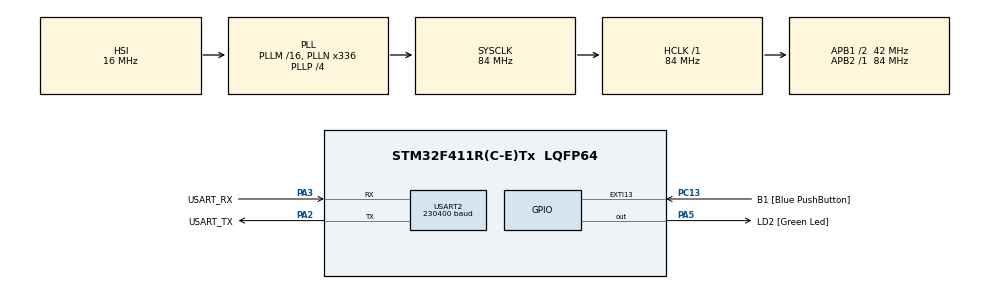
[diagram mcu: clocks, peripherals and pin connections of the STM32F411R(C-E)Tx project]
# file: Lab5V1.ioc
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Dma.Request0=USART2_RX
Dma.USART2_RX.0.Direction=DMA_PERIPH_TO_MEMORY
Dma.USART2_RX.0.FIFOMode=DMA_FIFOMODE_DISABLE
Dma.USART2_RX.0.Instance=DMA1_Stream5
Dma.USART2_RX.0.MemDataAlignment=DMA_MDATAALIGN_BYTE
Dma.USART2_RX.0.MemInc=DMA_MINC_ENABLE
Dma.USART2_RX.0.Mode=DMA_CIRCULAR
Dma.USART2_RX.0.PeriphDataAlignment=DMA_PDATAALIGN_BYTE
Dma.USART2_RX.0.PeriphInc=DMA_PINC_DISABLE
Dma.USART2_RX.0.Priority=DMA_PRIORITY_LOW
Mcu.Family=STM32F4
Mcu.Name=STM32F411R(C-E)Tx
Mcu.Package=LQFP64
NVIC.DMA1_Stream5_IRQn=true\:0\:0\:false\:false\:true\:false\:true\:true
NVIC.PriorityGroup=NVIC_PRIORITYGROUP_0
PA13.GPIO_Label=TMS
PA13.Mode=Serial_Wire
PA13.Signal=SYS_JTMS-SWDIO
PA14.GPIO_Label=TCK
PA14.Mode=Serial_Wire
PA14.Signal=SYS_JTCK-SWCLK
PA2.GPIO_Label=USART_TX
PA2.Mode=Asynchronous
PA2.Signal=USART2_TX
PA3.GPIO_Label=USART_RX
PA3.Mode=Asynchronous
PA3.Signal=USART2_RX
PA5.GPIO_Label=LD2 [Green Led]
PA5.Signal=GPIO_Output
PB3.GPIO_Label=SWO
PB3.Signal=SYS_JTDO-SWO
PC13-ANTI_TAMP.GPIO_Label=B1 [Blue PushButton]
PC13-ANTI_TAMP.GPIO_ModeDefaultEXTI=GPIO_MODE_IT_FALLING
PC13-ANTI_TAMP.Signal=GPXTI13
PC14-OSC32_IN.Mode=LSE-External-Oscillator
PC14-OSC32_IN.Signal=RCC_OSC32_IN
PC15-OSC32_OUT.Mode=LSE-External-Oscillator
PC15-OSC32_OUT.Signal=RCC_OSC32_OUT
PH0\ -\ OSC_IN.Mode=HSE-External-Clock-Source
PH0\ -\ OSC_IN.Signal=RCC_OSC_IN
PH1\ -\ OSC_OUT.Mode=HSE-External-Clock-Source
PH1\ -\ OSC_OUT.Signal=RCC_OSC_OUT
ProjectManager.HeapSize=0x200
ProjectManager.StackSize=0x400
ProjectManager.TargetToolchain=STM32CubeIDE
RCC.48MHZClocksFreq_Value=84000000
RCC.AHBFreq_Value=84000000
RCC.APB1CLKDivider=RCC_HCLK_DIV2
RCC.APB1Freq_Value=42000000
RCC.APB1TimFreq_Value=84000000
RCC.APB2Freq_Value=84000000
RCC.APB2TimFreq_Value=84000000
RCC.CortexFreq_Value=84000000
RCC.FLatency-AdvancedSettings=FLASH_LATENCY_2
RCC.HCLKFreq_Value=84000000
RCC.HSE_VALUE=8000000
RCC.HSI_VALUE=16000000
RCC.PLLN=336
RCC.PLLP=RCC_PLLP_DIV4
RCC.SYSCLKFreq_VALUE=84000000
RCC.SYSCLKSource=RCC_SYSCLKSOURCE_PLLCLK
RCC.VCOOutputFreq_Value=336000000
USART2.BaudRate=230400
USART2.VirtualMode=VM_ASYNC
board=NUCLEO-F411RE

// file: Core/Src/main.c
/* USER CODE BEGIN Header */
/**
  ******************************************************************************
  * @file           : main.c
  * @brief          : Main program body
  ******************************************************************************
  * @attention
  *
  * Copyright (c) 2023 STMicroelectronics.
  * All rights reserved.
  *
  * This software is licensed under terms that can be found in the LICENSE file
  * in the root directory of this software component.
  * If no LICENSE file comes with this software, it is provided AS-IS.
  *
  ******************************************************************************
  */
/* USER CODE END Header */
#include "main.h"

/* USER CODE BEGIN Includes */
//include these library to use string etc.
#include "stdio.h"
#include "string.h"
/* USER CODE END Includes */

UART_HandleTypeDef huart2;
DMA_HandleTypeDef hdma_usart2_rx;

/* USER CODE BEGIN PV */
uint8_t Rxbuffer[5]; // receive array
uint8_t Txbuffer[400]; // transmit array
uint8_t text[400];

int led_rate = 10; //led blinking speed
uint8_t led_status = 0; //off led at first
uint8_t blink = 0;//blink in hz

uint8_t B1;
uint8_t B1b; // edge check

uint8_t state = 2; //begin UI

uint8_t welcome = 0;
uint8_t led = 0;
uint8_t button = 0;

uint8_t tm = 100;

/* USER CODE END PV */

void SystemClock_Config(void);
static void MX_GPIO_Init(void);
static void MX_DMA_Init(void);
static void MX_USART2_UART_Init(void);
/* USER CODE BEGIN PFP */
void UI();
/* USER CODE END PFP */

int main(void)
{

  /* MCU Configuration--------------------------------------------------------*/

  /* Reset of all peripherals, Initializes the Flash interface and the Systick. */
  HAL_Init();

  /* Configure the system clock */
  SystemClock_Config();

  /* Initialize all configured peripherals */
  MX_GPIO_Init();
  MX_DMA_Init();
  MX_USART2_UART_Init();
  /* USER CODE BEGIN 2 */

  HAL_UART_Receive_DMA(&huart2, Rxbuffer, 1); //set DMA receive

  /* USER CODE END 2 */

  /* Infinite loop */
  while (1)
  {

    /* USER CODE BEGIN 3 */

	  if(led_status == 1){
	  static uint32_t timestamp=0;
	  if(timestamp<HAL_GetTick()){
		  timestamp = HAL_GetTick() + (blink);
		  HAL_GPIO_TogglePin(GPIOA, GPIO_PIN_5);
		  //HAL_GPIO_WritePin(GPIOA, GPIO_PIN_5, led_status);
	  }}
	  UI();

  }
  /* USER CODE END 3 */
}

void SystemClock_Config(void)
{
  RCC_OscInitTypeDef RCC_OscInitStruct = {0};
  RCC_ClkInitTypeDef RCC_ClkInitStruct = {0};

  /** Configure the main internal regulator output voltage
  */
  __HAL_RCC_PWR_CLK_ENABLE();
  __HAL_PWR_VOLTAGESCALING_CONFIG(PWR_REGULATOR_VOLTAGE_SCALE1);

  /** Initializes the RCC Oscillators according to the specified parameters
  * in the RCC_OscInitTypeDef structure.
  */
  RCC_OscInitStruct.OscillatorType = RCC_OSCILLATORTYPE_HSI;
  RCC_OscInitStruct.HSIState = RCC_HSI_ON;
  RCC_OscInitStruct.HSICalibrationValue = RCC_HSICALIBRATION_DEFAULT;
  RCC_OscInitStruct.PLL.PLLState = RCC_PLL_ON;
  RCC_OscInitStruct.PLL.PLLSource = RCC_PLLSOURCE_HSI;
  RCC_OscInitStruct.PLL.PLLM = 16;
  RCC_OscInitStruct.PLL.PLLN = 336;
  RCC_OscInitStruct.PLL.PLLP = RCC_PLLP_DIV4;
  RCC_OscInitStruct.PLL.PLLQ = 4;
  if (HAL_RCC_OscConfig(&RCC_OscInitStruct) != HAL_OK)
  {
    Error_Handler();
  }

  /** Initializes the CPU, AHB and APB buses clocks
  */
  RCC_ClkInitStruct.ClockType = RCC_CLOCKTYPE_HCLK|RCC_CLOCKTYPE_SYSCLK
                              |RCC_CLOCKTYPE_PCLK1|RCC_CLOCKTYPE_PCLK2;
  RCC_ClkInitStruct.SYSCLKSource = RCC_SYSCLKSOURCE_PLLCLK;
  RCC_ClkInitStruct.AHBCLKDivider = RCC_SYSCLK_DIV1;
  RCC_ClkInitStruct.APB1CLKDivider = RCC_HCLK_DIV2;
  RCC_ClkInitStruct.APB2CLKDivider = RCC_HCLK_DIV1;

  if (HAL_RCC_ClockConfig(&RCC_ClkInitStruct, FLASH_LATENCY_2) != HAL_OK)
  {
    Error_Handler();
  }
}

static void MX_USART2_UART_Init(void)
{

  huart2.Instance = USART2;
  huart2.Init.BaudRate = 230400;
  huart2.Init.WordLength = UART_WORDLENGTH_8B;
  huart2.Init.StopBits = UART_STOPBITS_1;
  huart2.Init.Parity = UART_PARITY_NONE;
  huart2.Init.Mode = UART_MODE_TX_RX;
  huart2.Init.HwFlowCtl = UART_HWCONTROL_NONE;
  huart2.Init.OverSampling = UART_OVERSAMPLING_16;
  if (HAL_UART_Init(&huart2) != HAL_OK)
  {
    Error_Handler();
  }

}

static void MX_DMA_Init(void)
{

  /* DMA controller clock enable */
  __HAL_RCC_DMA1_CLK_ENABLE();

  /* DMA interrupt init */
  /* DMA1_Stream5_IRQn interrupt configuration */
  HAL_NVIC_SetPriority(DMA1_Stream5_IRQn, 0, 0);
  HAL_NVIC_EnableIRQ(DMA1_Stream5_IRQn);

}

static void MX_GPIO_Init(void)
{
  GPIO_InitTypeDef GPIO_InitStruct = {0};

  /* GPIO Ports Clock Enable */
  __HAL_RCC_GPIOC_CLK_ENABLE();
  __HAL_RCC_GPIOH_CLK_ENABLE();
  __HAL_RCC_GPIOA_CLK_ENABLE();
  __HAL_RCC_GPIOB_CLK_ENABLE();

  /*Configure GPIO pin Output Level */
  HAL_GPIO_WritePin(LD2_GPIO_Port, LD2_Pin, GPIO_PIN_RESET);

  /*Configure GPIO pin : B1_Pin */
  GPIO_InitStruct.Pin = B1_Pin;
  GPIO_InitStruct.Mode = GPIO_MODE_IT_FALLING;
  GPIO_InitStruct.Pull = GPIO_NOPULL;
  HAL_GPIO_Init(B1_GPIO_Port, &GPIO_InitStruct);

  /*Configure GPIO pin : LD2_Pin */
  GPIO_InitStruct.Pin = LD2_Pin;
  GPIO_InitStruct.Mode = GPIO_MODE_OUTPUT_PP;
  GPIO_InitStruct.Pull = GPIO_NOPULL;
  GPIO_InitStruct.Speed = GPIO_SPEED_FREQ_LOW;
  HAL_GPIO_Init(LD2_GPIO_Port, &GPIO_InitStruct);

}

/* USER CODE BEGIN 4 */
void UI()
{
	switch(state){
		case 0:
			//-----------------------LED Control--------------------------//
			if(led == 0){

				sprintf((char*)Txbuffer,"----------------------------------------------------------------------------\r\n----------------------------------------------------------------------------\r\n----------------------------------------------------------------------------\r\n");
				HAL_UART_Transmit(&huart2, Txbuffer, strlen((char*)Txbuffer), tm);

				sprintf((char*)Txbuffer,"                   This is LED CONTROL mode!!!\r\n");
				HAL_UART_Transmit(&huart2, Txbuffer, strlen((char*)Txbuffer), tm);

				sprintf((char*)Txbuffer,"please press the options below\r\n");
				HAL_UART_Transmit(&huart2, Txbuffer, strlen((char*)Txbuffer), tm);

				sprintf((char*)Txbuffer,"A: To increase LED2 Blinking speed\r\nS: To decrease LED2 Blinking speed \r\nD: Turn ON or OFF LED2\r\nX: Go Back to Home page\r\n");
				HAL_UART_Transmit(&huart2, Txbuffer, strlen((char*)Txbuffer), tm);

				sprintf((char*)Txbuffer,"----------------------------------------------------------------------------\r\n");
				HAL_UART_Transmit(&huart2, Txbuffer, strlen((char*)Txbuffer), tm);

				//-----------update popup page status-------------------//
				welcome = 0;
				led = 1;
				button = 0;
				state=0;
			}
			else if(Rxbuffer[0]==97){//+ led speed
				led_rate = led_rate+1;
				blink = 500/led_rate;
				sprintf((char*)Txbuffer,"LED2's current Blinking speed : %d\r\n",led_rate);
				HAL_UART_Transmit(&huart2, Txbuffer, strlen((char*)Txbuffer), tm);
				Rxbuffer[0]=0;

				state=0;

			}
			else if(Rxbuffer[0]==115){//-led speed
				led_rate = led_rate-1;
				blink = 500/led_rate;
				if(led_rate<=0)led_rate=1;
				sprintf((char*)Txbuffer,"LED2's current Blinking speed : %d\r\n",led_rate);
				HAL_UART_Transmit(&huart2, Txbuffer, strlen((char*)Txbuffer), tm);

				Rxbuffer[0]=0;
				state=0;
			}
			else if(Rxbuffer[0]==100){
				if(led_status == 0){//off to on led
					led_status = 1;
					HAL_GPIO_WritePin(GPIOA, GPIO_PIN_5, led_status); //fix
					sprintf((char*)Txbuffer,"LED2's current Status : ON\r\n");
					HAL_UART_Transmit(&huart2, Txbuffer, strlen((char*)Txbuffer), tm);

					Rxbuffer[0]=0;
					state=0;
				}
				else if(led_status == 1){//on to off led
					led_status = 0;
					HAL_GPIO_WritePin(GPIOA, GPIO_PIN_5, led_status); //fix
					sprintf((char*)Txbuffer,"LED2's current Status : OFF\r\n");
					HAL_UART_Transmit(&huart2, Txbuffer, strlen((char*)Txbuffer), tm);

					Rxbuffer[0]=0;
					state=0;
				}

			}
			else if(Rxbuffer[0]!=120&&Rxbuffer[0]!=100&&Rxbuffer[0]!=115&&Rxbuffer[0]!=97&&Rxbuffer[0]!=0){//error press
				state =3;

				Rxbuffer[0]=0;
			}
			else if(Rxbuffer[0]==120){//back to home
				sprintf((char*)text,"                   END LED CONTROL mode\r\n");
				sprintf((char*)text,"----------------------------------------------------------------------------\r\n                                                                           \r\n                                                                           \r\n");

				Rxbuffer[0]=0;
				state = 2;
			}
			else{state=0;}
			break; //break case 0
		case 1://button status
			if(button == 0){
				//------------------------------------home popup------------------------------------\//

				sprintf((char*)Txbuffer,"----------------------------------------------------------------------------\r\n----------------------------------------------------------------------------\r\n----------------------------------------------------------------------------\r\n");
				HAL_UART_Transmit(&huart2, Txbuffer, strlen((char*)Txbuffer), tm);

				sprintf((char*)Txbuffer,"                This is BUTTON STATUS mode!!! \r\n");
				HAL_UART_Transmit(&huart2, Txbuffer, strlen((char*)Txbuffer), tm);

				sprintf((char*)Txbuffer,"please press the options below\r\n");
				HAL_UART_Transmit(&huart2, Txbuffer, strlen((char*)Txbuffer), tm);

				sprintf((char*)Txbuffer,"B1: To Check Button1's status\r\nX: Go Back to Home page\r\n");
				HAL_UART_Transmit(&huart2, Txbuffer, strlen((char*)Txbuffer), tm);

				sprintf((char*)Txbuffer,"----------------------------------------------------------------------------\r\n----------------------------------------------------------------------------\r\n----------------------------------------------------------------------------\r\n");
				HAL_UART_Transmit(&huart2, Txbuffer, strlen((char*)Txbuffer), tm);

				//-----------update popup page status-------------------//
				welcome = 0;
				led = 0;
				button = 1;
				}
			else if(HAL_GPIO_ReadPin(GPIOC, GPIO_PIN_13) == 1 && B1b == 0){//Un-press
				sprintf((char*)Txbuffer,"Un-press\r\n");
				HAL_UART_Transmit(&huart2, Txbuffer, strlen((char*)Txbuffer), tm);
				Rxbuffer[0]=0;
				state=1;
			}
			else if(HAL_GPIO_ReadPin(GPIOC, GPIO_PIN_13) == 0 && B1b == 1){//press
				sprintf((char*)Txbuffer,"Press\r\n");
				HAL_UART_Transmit(&huart2, Txbuffer, strlen((char*)Txbuffer), tm);
				Rxbuffer[0]=0;
				state=1;
			}
			else if(Rxbuffer[0]!=120&&Rxbuffer[0]!=0){//error press
				state =3;
				Rxbuffer[0]=0;
			}
			else if(Rxbuffer[0]==120){//back to home
				sprintf((char*)text,"                   END LED CONTROL mode\r\n");
				sprintf((char*)text,"----------------------------------------------------------------------------\r\n                                                                           \r\n                                                                           \r\n");
				Rxbuffer[0]=0;
				state = 2;
			}
			else{state=1;}
			B1b = HAL_GPIO_ReadPin(GPIOC, GPIO_PIN_13);
			break;
		case 2://home
			if(welcome == 0){
				//------------------------------------home popup------------------------------------\//

				sprintf((char*)Txbuffer,"----------------------------------------------------------------------------\r\n----------------------------------------------------------------------------\r\n----------------------------------------------------------------------------\r\n");
				HAL_UART_Transmit(&huart2, Txbuffer, strlen((char*)Txbuffer), tm);

						sprintf((char*)Txbuffer,"                Hello This is Anchisa's LAB5 UART \r\n");
						HAL_UART_Transmit(&huart2, Txbuffer, strlen((char*)Txbuffer), tm);

						sprintf((char*)Txbuffer,"please press the options below\r\n");
						HAL_UART_Transmit(&huart2, Txbuffer, strlen((char*)Txbuffer), tm);

						sprintf((char*)Txbuffer,"0: To LED CONTROL mode\r\n1: To BUTTON STATUS mode\r\n");
						HAL_UART_Transmit(&huart2, Txbuffer, strlen((char*)Txbuffer), tm);

						sprintf((char*)Txbuffer,"----------------------------------------------------------------------------\r\n----------------------------------------------------------------------------\r\n----------------------------------------------------------------------------\r\n");
						HAL_UART_Transmit(&huart2, Txbuffer, strlen((char*)Txbuffer), tm);

						//-----------update popup page status-------------------//
						welcome = 1;
						led = 0;
						button = 0;
			}
			else if(Rxbuffer[0]==48){
				Rxbuffer[0]=0;
				state=0;
			}
			else if(Rxbuffer[0]==49){
				Rxbuffer[0]=0;
				state=1;
			}
			else if(Rxbuffer[0]!=48&&Rxbuffer[0]!=49&&Rxbuffer[0]!=0){
				state =3;
				Rxbuffer[0]=0;
			}
			else{state=2;}

			break;
		case 3://error
			sprintf((char*)Txbuffer,"     Sorry we don't have this option,will take you back to HOMEPAGE \r\n");
			HAL_UART_Transmit(&huart2, Txbuffer, strlen((char*)Txbuffer), tm);
			welcome = 0;
			led = 0;
			button = 0;
			state = 2;
			break;

		}

}
/* USER CODE END 4 */

void Error_Handler(void)
{
  __disable_irq();
  while (1)
  {
  }
}
